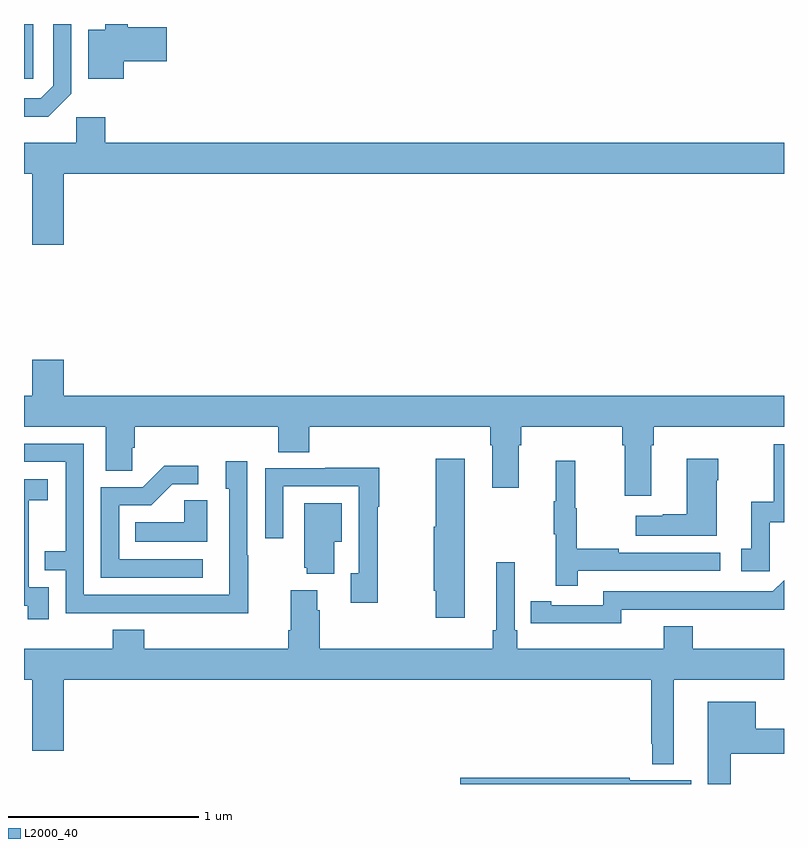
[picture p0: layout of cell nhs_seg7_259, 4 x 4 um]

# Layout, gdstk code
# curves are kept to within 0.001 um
import gdstk
lib = gdstk.Library(unit=1e-6, precision=1e-09)
def R(c, l, rs):  # rectangles x0, y0, x1, y1
    for r in rs: c.add(gdstk.rectangle(r[:2], r[2:], *l))
def P(c, l, *ps):  # polygons
    for p in ps: c.add(gdstk.Polygon(p, *l))
L2000_40 = (2000, 40)

nhs_seg7_259 = lib.new_cell('nhs_seg7_259')
R(nhs_seg7_259, L2000_40, [(129,1071.711,129.048,1072)])
P(nhs_seg7_259, L2000_40, [(129.249,1071.633),(129.249,1072),(129.153,1072),(129.153,1071.675),(129.087,1071.609),(129,1071.609),(129,1071.512),(129.128,1071.512)],
  [(129.526,1071.805),(129.751,1071.805),(129.751,1071.983),(129.545,1071.983),(129.545,1072),(129.428,1072),(129.428,1071.97),(129.338,1071.97),(129.338,1071.713),(129.526,1071.713)],
  [(129.208,1071.212),(133,1071.212),(133,1071.376),(129.428,1071.376),(129.428,1071.508),(129.276,1071.508),(129.276,1071.376),(129,1071.376),(129,1071.212),(129.044,1071.212),(129.044,1070.838),(129.208,1070.838)],
  [(132.301,1069.784),(132.314,1069.784),(132.314,1069.88),(133,1069.88),(133,1070.044),(129.208,1070.044),(129.208,1070.233),(129.044,1070.233),(129.044,1070.044),(129,1070.044),(129,1069.88),(129.431,1069.88),(129.431,1069.648),(129.57,1069.648),(129.57,1069.771),(129.584,1069.771),(129.584,1069.88),(130.337,1069.88),(130.337,1069.747),(130.502,1069.747),(130.502,1069.88),(131.453,1069.88),(131.453,1069.784),(131.465,1069.784),(131.465,1069.56),(131.605,1069.56),(131.605,1069.784),(131.618,1069.784),(131.618,1069.88),(132.149,1069.88),(132.149,1069.784),(132.161,1069.784),(132.161,1069.518),(132.301,1069.518)],
  [(130.179,1069.205),(130.176,1069.205),(130.176,1069.699),(130.061,1069.699),(130.061,1069.554),(130.08,1069.554),(130.08,1068.996),(129.315,1068.996),(129.315,1069.791),(129,1069.791),(129,1069.695),(129.219,1069.695),(129.219,1069.226),(129.109,1069.226),(129.109,1069.125),(129.219,1069.125),(129.219,1068.9),(129.715,1068.9),(129.715,1068.899),(130.179,1068.899)],
  [(132.924,1069.377),(133,1069.377),(133,1069.788),(132.945,1069.788),(132.945,1069.486),(132.827,1069.486),(132.827,1069.239),(132.774,1069.239),(132.774,1069.119),(132.924,1069.119)],
  [(132.646,1069.598),(132.654,1069.598),(132.654,1069.711),(132.488,1069.711),(132.488,1069.421),(132.362,1069.421),(132.362,1069.411),(132.219,1069.411),(132.219,1069.307),(132.646,1069.307)],
  [(131.32,1069.711),(131.167,1069.711),(131.167,1069.353),(131.156,1069.353),(131.156,1069.017),(131.167,1069.017),(131.167,1068.876),(131.32,1068.876)],
  [(131.915,1069.122),(132.664,1069.122),(132.664,1069.218),(132.131,1069.218),(132.131,1069.238),(131.908,1069.238),(131.908,1069.452),(131.9,1069.452),(131.9,1069.702),(131.798,1069.702),(131.798,1069.489),(131.787,1069.489),(131.787,1069.315),(131.798,1069.315),(131.798,1069.044),(131.915,1069.044)],
  [(129.94,1069.182),(129.501,1069.182),(129.501,1069.467),(129.67,1069.467),(129.781,1069.578),(129.916,1069.578),(129.916,1069.676),(129.737,1069.676),(129.624,1069.563),(129.405,1069.563),(129.405,1069.086),(129.94,1069.086)],
  [(130.862,1069.459),(130.87,1069.459),(130.87,1069.664),(130.585,1069.664),(130.585,1069.662),(130.269,1069.662),(130.269,1069.293),(130.365,1069.293),(130.365,1069.566),(130.761,1069.566),(130.761,1069.11),(130.721,1069.11),(130.721,1068.954),(130.862,1068.954)],
  [(129.129,1069.035),(129.024,1069.035),(129.024,1069.265),(129.026,1069.265),(129.026,1069.493),(129.124,1069.493),(129.124,1069.603),(129,1069.603),(129,1068.937),(129.021,1068.937),(129.021,1068.867),(129.129,1068.867)],
  [(129.964,1069.493),(129.843,1069.493),(129.843,1069.378),(129.586,1069.378),(129.586,1069.274),(129.964,1069.274)],
  [(130.633,1069.274),(130.672,1069.274),(130.672,1069.477),(130.475,1069.477),(130.475,1069.137),(130.487,1069.137),(130.487,1069.106),(130.633,1069.106)],
  [(132.421,1068.548),(133,1068.548),(133,1068.712),(132.521,1068.712),(132.521,1068.829),(132.368,1068.829),(132.368,1068.712),(131.597,1068.712),(131.597,1068.808),(131.583,1068.808),(131.583,1069.168),(131.486,1069.168),(131.486,1068.808),(131.467,1068.808),(131.467,1068.712),(130.556,1068.712),(130.556,1068.914),(130.543,1068.914),(130.543,1069.021),(130.403,1069.021),(130.403,1068.808),(130.391,1068.808),(130.391,1068.712),(129.632,1068.712),(129.632,1068.811),(129.467,1068.811),(129.467,1068.712),(129,1068.712),(129,1068.548),(129.044,1068.548),(129.044,1068.174),(129.208,1068.174),(129.208,1068.548),(132.3,1068.548),(132.3,1068.211),(132.306,1068.211),(132.306,1068.104),(132.421,1068.104)],
  [(132.144,1068.918),(133,1068.917),(133,1069.072),(132.942,1069.014),(132.048,1069.014),(132.048,1068.942),(131.776,1068.942),(131.776,1068.962),(131.668,1068.962),(131.668,1068.846),(132.144,1068.845)],
  [(132.721,1068.158),(133,1068.158),(133,1068.292),(132.85,1068.292),(132.85,1068.433),(132.599,1068.433),(132.599,1068),(132.721,1068)],
  [(132.511,1068.019),(132.188,1068.019),(132.188,1068.032),(131.297,1068.032),(131.297,1068),(132.511,1068)])

lib.write_gds('nhs_seg7_259.gds')
